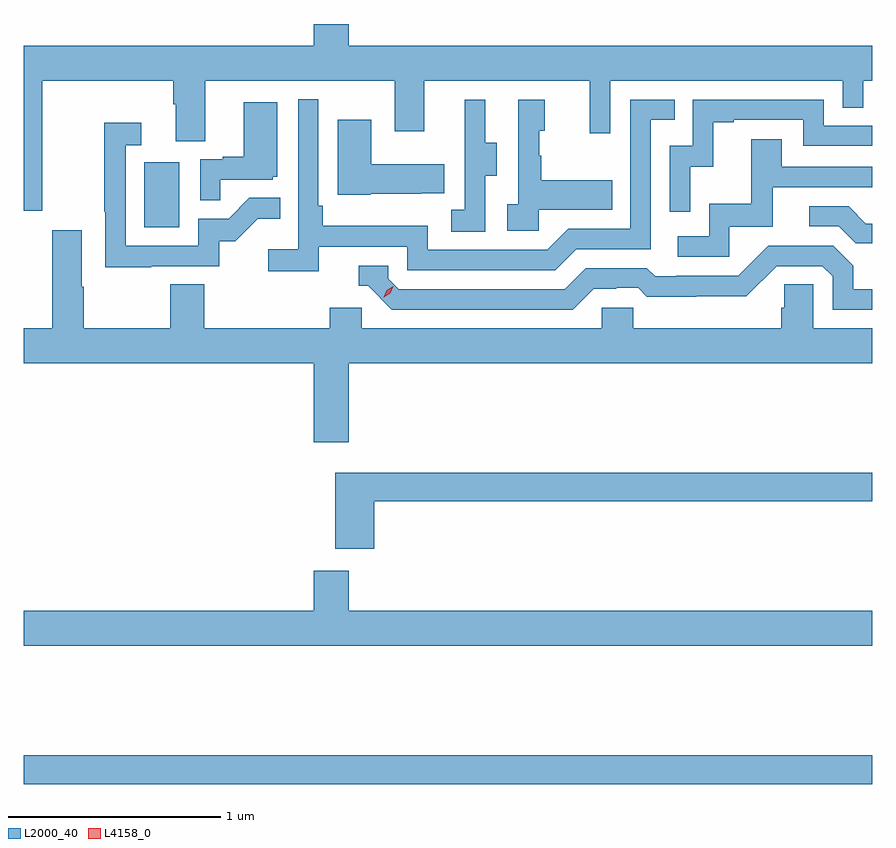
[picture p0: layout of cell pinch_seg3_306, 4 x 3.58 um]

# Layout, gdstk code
import gdstk
lib = gdstk.Library(unit=1e-6, precision=1e-09)
def R(c, l, rs):  # rectangles x0, y0, x1, y1
    for r in rs: c.add(gdstk.rectangle(r[:2], r[2:], *l))
def P(c, l, *ps):  # polygons
    for p in ps: c.add(gdstk.Polygon(p, *l))
L2000_40 = (2000, 40)
L4158_0 = (4158, 0)

pinch_seg3_306 = lib.new_cell('pinch_seg3_306')
R(pinch_seg3_306, L2000_40, [(966.837,709.588,970.837,709.724), (967.406,712.212,967.57,712.519)])
P(pinch_seg3_306, L2000_40, [(966.925,712.904),(967.541,712.904),(967.541,712.792),(967.553,712.792),(967.553,712.618),(967.693,712.618),(967.693,712.904),(968.585,712.904),(968.585,712.665),(968.725,712.665),(968.725,712.904),(969.506,712.904),(969.506,712.656),(969.603,712.656),(969.603,712.904),(970.698,712.904),(970.698,712.777),(970.794,712.777),(970.794,712.904),(970.837,712.904),(970.837,713.068),(968.368,713.068),(968.368,713.171),(968.204,713.171),(968.204,713.068),(966.837,713.068),(966.837,712.29),(966.925,712.29)],
  [(968.228,712.122),(968.646,712.122),(968.646,712.011),(969.343,712.011),(969.442,712.11),(969.792,712.11),(969.792,712.719),(969.905,712.719),(969.905,712.815),(969.696,712.815),(969.696,712.206),(969.405,712.206),(969.306,712.107),(968.742,712.107),(968.742,712.219),(968.246,712.219),(968.246,712.315),(968.226,712.315),(968.226,712.816),(968.13,712.816),(968.13,712.108),(967.989,712.108),(967.989,712.006),(968.228,712.006)],
  [(969.978,712.499),(970.088,712.499),(970.088,712.707),(970.183,712.707),(970.183,712.719),(970.512,712.719),(970.512,712.596),(970.837,712.596),(970.837,712.692),(970.608,712.692),(970.608,712.815),(969.99,712.815),(969.99,712.596),(969.882,712.596),(969.882,712.287),(969.978,712.287)],
  [(969.012,712.456),(969.067,712.456),(969.067,712.611),(969.013,712.611),(969.013,712.813),(968.915,712.813),(968.915,712.599),(968.916,712.599),(968.916,712.295),(968.853,712.295),(968.853,712.192),(969.012,712.192)],
  [(969.264,712.295),(969.611,712.295),(969.611,712.435),(969.277,712.435),(969.277,712.55),(969.267,712.55),(969.267,712.668),(969.292,712.668),(969.292,712.813),(969.168,712.813),(969.168,712.322),(969.117,712.322),(969.117,712.197),(969.264,712.197)],
  [(967.763,712.437),(968.01,712.437),(968.01,712.452),(968.032,712.452),(968.032,712.801),(967.874,712.801),(967.874,712.546),(967.775,712.546),(967.775,712.533),(967.668,712.533),(967.668,712.339),(967.763,712.339)],
  [(968.472,712.37),(968.711,712.37),(968.711,712.373),(968.819,712.373),(968.819,712.51),(968.476,712.51),(968.476,712.72),(968.318,712.72),(968.318,712.367),(968.472,712.367)],
  [(967.439,712.029),(967.758,712.029),(967.758,712.146),(967.834,712.146),(967.941,712.253),(968.045,712.253),(968.045,712.352),(967.901,712.352),(967.803,712.254),(967.659,712.254),(967.659,712.125),(967.317,712.125),(967.317,712.599),(967.39,712.599),(967.39,712.705),(967.216,712.705),(967.216,712.285),(967.221,712.285),(967.221,712.024),(967.439,712.024)],
  [(970.164,712.215),(970.369,712.215),(970.369,712.401),(970.837,712.401),(970.837,712.497),(970.411,712.497),(970.411,712.627),(970.267,712.627),(970.267,712.324),(970.068,712.324),(970.068,712.17),(969.921,712.17),(969.921,712.074),(970.164,712.074)],
  [(970.837,712.23),(970.807,712.23),(970.726,712.311),(970.539,712.311),(970.539,712.218),(970.68,712.218),(970.76,712.138),(970.837,712.138)],
  [(968.368,711.572),(970.837,711.572),(970.837,711.736),(970.56,711.736),(970.56,711.944),(970.423,711.944),(970.423,711.834),(970.409,711.834),(970.409,711.736),(969.711,711.736),(969.711,711.834),(969.561,711.834),(969.561,711.736),(968.43,711.736),(968.43,711.834),(968.279,711.834),(968.279,711.736),(967.688,711.736),(967.688,711.944),(967.528,711.944),(967.528,711.736),(967.119,711.736),(967.119,711.932),(967.111,711.932),(967.111,712.198),(966.971,712.198),(966.971,711.736),(966.837,711.736),(966.837,711.572),(968.204,711.572),(968.204,711.198),(968.368,711.198)],
  [(969.523,711.924),(969.63,711.924),(969.63,711.927),(969.733,711.927),(969.775,711.885),(970.008,711.885),(970.008,711.887),(970.244,711.887),(970.386,712.029),(970.602,712.029),(970.65,711.981),(970.65,711.825),(970.837,711.825),(970.837,711.921),(970.747,711.921),(970.747,712.031),(970.653,712.125),(970.347,712.125),(970.206,711.984),(969.913,711.984),(969.913,711.981),(969.814,711.981),(969.775,712.02),(969.486,712.02),(969.387,711.921),(968.604,711.921),(968.556,711.969),(968.556,712.032),(968.417,712.032),(968.417,711.936),(968.46,711.936),(968.571,711.825),(969.424,711.825)],
  [(968.489,710.92),(970.837,710.92),(970.837,711.056),(968.306,711.056),(968.306,710.697),(968.489,710.697)],
  [(970.837,710.404),(968.368,710.404),(968.368,710.593),(968.204,710.593),(968.204,710.404),(966.837,710.404),(966.837,710.24),(970.837,710.24)])
P(pinch_seg3_306, L4158_0, [(968.534,711.882),(968.534,711.883),(968.549,711.915),(968.579,711.935),(968.58,711.935),(968.58,711.935),(968.564,711.902),(968.534,711.882)])

lib.write_gds('pinch_seg3_306.gds')
